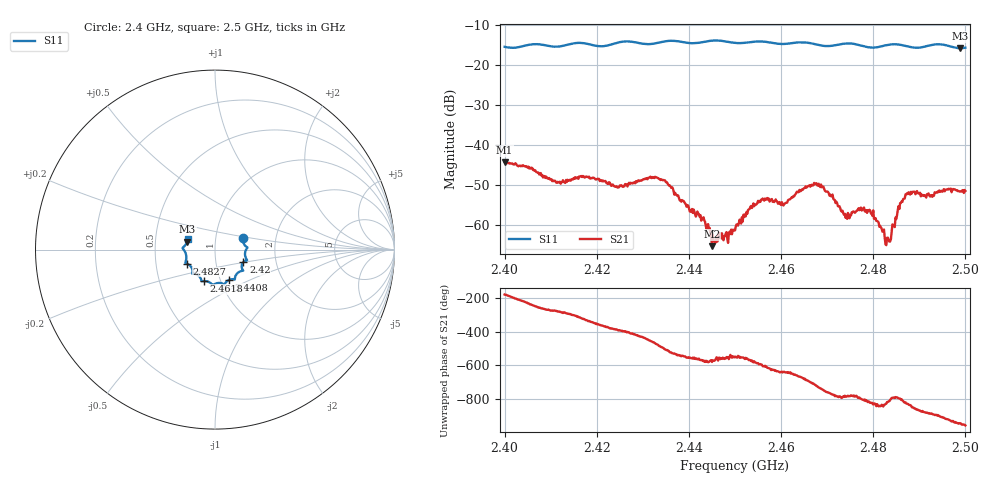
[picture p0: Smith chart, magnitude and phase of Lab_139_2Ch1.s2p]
# Hz S RI R 50
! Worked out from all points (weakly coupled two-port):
!   601 points, 2.4 GHz to 2.5 GHz, reference 50 ohm
!   highest |S21| = -44.36 dB at 2.4 GHz (marker M1); lowest = -65.4 dB at 2.445 GHz (marker M2)
!   lowest |S11| = -15.8 dB at 2.4988 GHz (marker M3), VSWR 1.38, Z = 36.4 + j3.33 ohm
!   |S11| at or under -10 dB: start of sweep to end of sweep
!   S12 and S22 are empty: the file has one direction only
!   S11 on the Smith chart (normalised r, x): 2.4 GHz: 1.36, +0.17; 2.42 GHz: 1.36, -0.19; 2.4408 GHz: 1.10, -0.39; 2.4618 GHz: 0.84, -0.30; 2.4827 GHz: 0.72, -0.12; 2.5 GHz: 0.73, +0.09
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2.4e9  0.1562 0.0619  -0.00605 -1.13e-05  0 0  0 0
2.411667e9  0.1671 -0.0257  0.000634 0.00333  0 0  0 0
2.416667e9  0.1782 -0.0595  0.00313 0.0026  0 0  0 0
2.42e9  0.158 -0.0693  0.00367 0.000542  0 0  0 0
2.424333e9  0.1528 -0.11  0.00271 -0.00135  0 0  0 0
2.433333e9  0.1121 -0.1521  -0.00185 -0.00335  0 0  0 0
2.440833e9  0.0789 -0.1688  -0.00137 0.000325  0 0  0 0
2.443e9  0.0607 -0.1826  -0.000998 0.000656  0 0  0 0
2.445e9  0.0535 -0.1934  -0.000418 0.000342  0 0  0 0
2.45e9  0.0278 -0.186  -0.000844 0.000107  0 0  0 0
2.4555e9  -0.013 -0.1959  -0.00119 0.00152  0 0  0 0
2.461833e9  -0.0601 -0.1752  0.000531 0.002  0 0  0 0
2.466667e9  -0.0769 -0.1685  0.00302 0.000957  0 0  0 0
2.469167e9  -0.088 -0.1485  0.00271 -0.00129  0 0  0 0
2.473833e9  -0.125 -0.1355  0.000702 -0.00118  0 0  0 0
2.4795e9  -0.1315 -0.0988  -0.000245 -0.00136  0 0  0 0
2.482667e9  -0.157 -0.0778  -0.000175 -0.000541  0 0  0 0
2.483333e9  -0.1612 -0.0763  -3.21e-05 -0.000642  0 0  0 0
2.485833e9  -0.1641 -0.0697  0.000432 -0.00181  0 0  0 0
2.4875e9  -0.1603 -0.0556  -0.000726 -0.00231  0 0  0 0
2.498833e9  -0.1551 0.0445  -0.00194 0.00172  0 0  0 0
2.5e9  -0.1519 0.0615  -0.00151 0.00217  0 0  0 0
